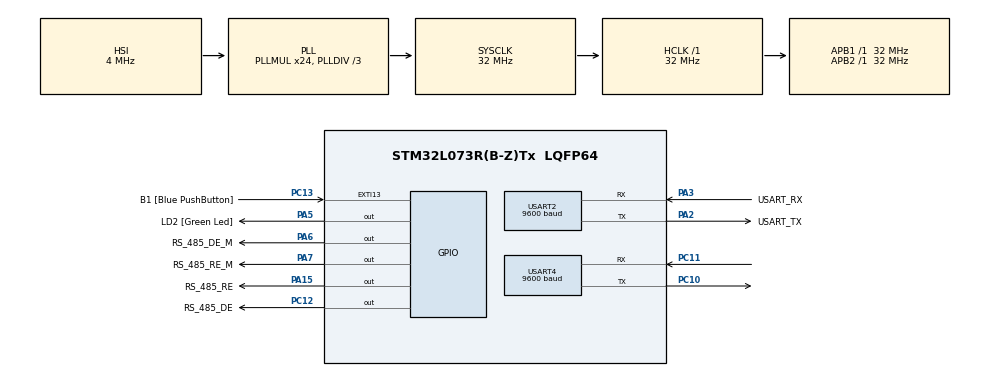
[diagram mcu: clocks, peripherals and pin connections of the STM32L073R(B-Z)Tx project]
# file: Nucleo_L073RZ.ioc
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FREERTOS.Tasks01=defaultTask,0,128,StartDefaultTask,Default,NULL,Dynamic,NULL,NULL;MasterPoll,-3,128,StartMasterPollTask,Default,NULL,Dynamic,NULL,NULL;SlavePoll,-3,128,StartSlavePollTask,Default,NULL,Dynamic,NULL,NULL;NmeaPoll,-3,128,StartNmeaPollTask,Default,NULL,Dynamic,NULL,NULL
Mcu.Family=STM32L0
Mcu.Name=STM32L073R(B-Z)Tx
Mcu.Package=LQFP64
NVIC.TIM2_IRQn=true\:0\:0\:false\:false\:true\:false\:false\:true
NVIC.TIM6_DAC_IRQn=true\:3\:0\:false\:false\:true\:true\:true\:true
NVIC.TIM7_IRQn=true\:3\:0\:false\:false\:true\:true\:true\:true
NVIC.TimeBase=TIM2_IRQn
NVIC.TimeBaseIP=TIM2
NVIC.USART2_IRQn=true\:3\:0\:false\:false\:true\:true\:true\:true
NVIC.USART4_5_IRQn=true\:3\:0\:false\:false\:true\:true\:true\:true
PA13.GPIO_Label=TMS
PA13.Mode=Serial_Wire
PA13.Signal=SYS_SWDIO
PA14.GPIO_Label=TCK
PA14.Mode=Serial_Wire
PA14.Signal=SYS_SWCLK
PA15.GPIO_Label=RS_485_RE
PA15.Signal=GPIO_Output
PA2.GPIO_Label=USART_TX
PA2.Mode=Asynchronous
PA2.Signal=USART2_TX
PA3.GPIO_Label=USART_RX
PA3.Mode=Asynchronous
PA3.Signal=USART2_RX
PA5.GPIO_Label=LD2 [Green Led]
PA5.Signal=GPIO_Output
PA6.GPIO_Label=RS_485_DE_M
PA6.Signal=GPIO_Output
PA7.GPIO_Label=RS_485_RE_M
PA7.Signal=GPIO_Output
PC10.Mode=Asynchronous
PC10.Signal=USART4_TX
PC11.Mode=Asynchronous
PC11.Signal=USART4_RX
PC12.GPIO_Label=RS_485_DE
PC12.Signal=GPIO_Output
PC13.GPIO_Label=B1 [Blue PushButton]
PC13.GPIO_ModeDefaultEXTI=GPIO_MODE_IT_FALLING
PC13.Signal=GPXTI13
PC14-OSC32_IN.Mode=LSE-External-Oscillator
PC14-OSC32_IN.Signal=RCC_OSC32_IN
PC15-OSC32_OUT.Mode=LSE-External-Oscillator
PC15-OSC32_OUT.Signal=RCC_OSC32_OUT
PH0-OSC_IN.GPIO_Label=MCO
PH0-OSC_IN.Mode=HSE-External-Clock-Source
PH0-OSC_IN.Signal=RCC_OSC_IN
ProjectManager.HeapSize=0x200
ProjectManager.StackSize=0x400
ProjectManager.TargetToolchain=STM32CubeIDE
RCC.ADCFreq_Value=4000000
RCC.AHBFreq_Value=32000000
RCC.APB1Freq_Value=32000000
RCC.APB1TimFreq_Value=32000000
RCC.APB2Freq_Value=32000000
RCC.APB2TimFreq_Value=32000000
RCC.HCLKFreq_Value=32000000
RCC.HSE_VALUE=8000000
RCC.HSI16_VALUE=16000000
RCC.HSI48_VALUE=48000000
RCC.HSIRCDiv=4
RCC.HSI_VALUE=4000000
RCC.MSI_VALUE=2097000
RCC.PLLDIV=RCC_PLLDIV_3
RCC.PLLMUL=RCC_PLLMUL_24
RCC.SYSCLKFreq_VALUE=32000000
RCC.SYSCLKSource=RCC_SYSCLKSOURCE_PLLCLK
RCC.Usart2ClockSelection=RCC_USART2CLKSOURCE_HSI
RCC.VCOOutputFreq_Value=96000000
TIM6.AutoReloadPreload=TIM_AUTORELOAD_PRELOAD_ENABLE
TIM6.Period=20
TIM6.Prescaler=31
TIM7.AutoReloadPreload=TIM_AUTORELOAD_PRELOAD_ENABLE
TIM7.Period=20
TIM7.Prescaler=31
USART2.BaudRate=9600
USART2.VirtualMode-Asynchronous=VM_ASYNC
USART4.BaudRate=9600
USART4.Parity=PARITY_NONE
USART4.VirtualMode-Asynchronous=VM_ASYNC
VP_FREERTOS_VS_CMSIS_V1.Mode=CMSIS_V1
VP_SYS_VS_tim2.Mode=TIM2
VP_TIM6_VS_ClockSourceINT.Mode=Enable_Timer
VP_TIM7_VS_ClockSourceINT.Mode=Enable_Timer
VP_WWDG_VS_WWDG.Mode=WWDG_Activate
WWDG.Counter=127
WWDG.Prescaler=WWDG_PRESCALER_8
WWDG.Window=127
board=NUCLEO-L073RZ

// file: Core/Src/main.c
/* USER CODE BEGIN Header */
/**
  ******************************************************************************
  * @file           : main.c
  * @brief          : Main program body
  ******************************************************************************
  * @attention
  *
  * <h2><center>&copy; Copyright (c) 2023 STMicroelectronics.
  * All rights reserved.</center></h2>
  *
  * This software component is licensed by ST under BSD 3-Clause license,
  * the "License"; You may not use this file except in compliance with the
  * License. You may obtain a copy of the License at:
  *                        opensource.org/licenses/BSD-3-Clause
  *
  ******************************************************************************
  */
/* USER CODE END Header */

#include "main.h"
#include "cmsis_os.h"

/* USER CODE BEGIN Includes */
#include "mb.h"
#include "mbport.h"
#include "user_mb_app.h"
/* USER CODE END Includes */

TIM_HandleTypeDef htim6;
TIM_HandleTypeDef htim7;

UART_HandleTypeDef huart2;
UART_HandleTypeDef huart4;

WWDG_HandleTypeDef hwwdg;

osThreadId defaultTaskHandle;
osThreadId MasterPollHandle;
osThreadId SlavePollHandle;
osThreadId NmeaPollHandle;

void SystemClock_Config(void);
static void MX_GPIO_Init(void);
static void MX_USART2_UART_Init(void);
static void MX_TIM7_Init(void);
static void MX_USART4_UART_Init(void);
static void MX_WWDG_Init(void);
static void MX_TIM6_Init(void);
void StartDefaultTask(void const * argument);
void StartMasterPollTask(void const * argument);
void StartSlavePollTask(void const * argument);
void StartNmeaPollTask(void const * argument);

/* USER CODE BEGIN 0 */
extern uint16_t usSRegInBuf[];
extern uint8_t ucSDiscInBuf[];
extern uint16_t usSRegHoldBuf[];
extern uint8_t ucSCoilBuf[];
extern BOOL xNeedPoll;
/* USER CODE END 0 */

int main(void)
{
  /* USER CODE BEGIN 1 */
	__enable_irq();
  /* USER CODE END 1 */

  /* MCU Configuration--------------------------------------------------------*/

  /* Reset of all peripherals, Initializes the Flash interface and the Systick. */
  HAL_Init();

  /* Configure the system clock */
  SystemClock_Config();

  /* Initialize all configured peripherals */
  MX_GPIO_Init();
  MX_USART2_UART_Init();
  MX_TIM7_Init();
  MX_USART4_UART_Init();
  MX_WWDG_Init();
  MX_TIM6_Init();
  /* USER CODE BEGIN 2 */
    eMBInit(MB_RTU, 0x01, &huart2, 9600, &htim7);
    //HAL_GPIO_WritePin(RS_485_RE_GPIO_Port, RS_485_RE_Pin, GPIO_PIN_SET);//set the RE pin HIGH to make recieve possible
	eMBEnable();

	eMBMasterInit(MB_RTU, &huart4, 9600, &htim6);
	//HAL_GPIO_WritePin(RS_485_RE_M_GPIO_Port, RS_485_RE_M_Pin, GPIO_PIN_SET);//set the RE pin HIGH to make recieve possible
	eMBMasterEnable();
	xNeedPoll = TRUE;

	usSRegInBuf[0] = 0;
	usSRegInBuf[1] = 0;
	usSRegInBuf[2] = 0;
	usSRegInBuf[3] = 0;
	usSRegInBuf[4] = 0;
	usSRegInBuf[5] = 0;
	usSRegInBuf[6] = 0;
	usSRegInBuf[7] = 0;

	ucSDiscInBuf[0] = 0b00000000;
	ucSDiscInBuf[1] = 0b00000000;
	ucSDiscInBuf[2] = 0b00000000;
	ucSDiscInBuf[3] = 0b00000000;

	ucSCoilBuf[0] = 0b00000000;
	ucSCoilBuf[1] = 0b00000000;

	usSRegHoldBuf[0] = 266;
	usSRegHoldBuf[1] = 267;
	usSRegHoldBuf[2] = 268;
	usSRegHoldBuf[3] = 269;
	usSRegHoldBuf[4] = 270;

	usSRegHoldBuf[5] = 0;
	usSRegHoldBuf[6] = 0;
	usSRegHoldBuf[7] = 0;
	usSRegHoldBuf[8] = 0;
	usSRegHoldBuf[9] = 0;
	usSRegHoldBuf[10] = 0;
	usSRegHoldBuf[11] = 0;
	usSRegHoldBuf[12] = 0;
	usSRegHoldBuf[13] = 0;
	usSRegHoldBuf[14] = 0;
	usSRegHoldBuf[15] = 0;
	usSRegHoldBuf[16] = 0;

  /* USER CODE END 2 */

  /* Create the thread(s) */
  /* definition and creation of defaultTask */
  osThreadDef(defaultTask, StartDefaultTask, osPriorityNormal, 0, 128);
  defaultTaskHandle = osThreadCreate(osThread(defaultTask), NULL);

  /* definition and creation of MasterPoll */
  osThreadDef(MasterPoll, StartMasterPollTask, osPriorityIdle, 0, 128);
  MasterPollHandle = osThreadCreate(osThread(MasterPoll), NULL);

  /* definition and creation of SlavePoll */
  osThreadDef(SlavePoll, StartSlavePollTask, osPriorityIdle, 0, 128);
  SlavePollHandle = osThreadCreate(osThread(SlavePoll), NULL);

  /* definition and creation of NmeaPoll */
  osThreadDef(NmeaPoll, StartNmeaPollTask, osPriorityIdle, 0, 128);
  NmeaPollHandle = osThreadCreate(osThread(NmeaPoll), NULL);

  /* Start scheduler */
  osKernelStart();

  /* We should never get here as control is now taken by the scheduler */
  /* Infinite loop */
  while (1)
  {

  }
}

void SystemClock_Config(void)
{
  RCC_OscInitTypeDef RCC_OscInitStruct = {0};
  RCC_ClkInitTypeDef RCC_ClkInitStruct = {0};
  RCC_PeriphCLKInitTypeDef PeriphClkInit = {0};

  /** Configure the main internal regulator output voltage
  */
  __HAL_PWR_VOLTAGESCALING_CONFIG(PWR_REGULATOR_VOLTAGE_SCALE1);
  /** Initializes the CPU, AHB and APB busses clocks
  */
  RCC_OscInitStruct.OscillatorType = RCC_OSCILLATORTYPE_HSI;
  RCC_OscInitStruct.HSIState = RCC_HSI_DIV4;
  RCC_OscInitStruct.HSICalibrationValue = RCC_HSICALIBRATION_DEFAULT;
  RCC_OscInitStruct.PLL.PLLState = RCC_PLL_ON;
  RCC_OscInitStruct.PLL.PLLSource = RCC_PLLSOURCE_HSI;
  RCC_OscInitStruct.PLL.PLLMUL = RCC_PLLMUL_24;
  RCC_OscInitStruct.PLL.PLLDIV = RCC_PLLDIV_3;
  if (HAL_RCC_OscConfig(&RCC_OscInitStruct) != HAL_OK)
  {
    Error_Handler();
  }
  /** Initializes the CPU, AHB and APB busses clocks
  */
  RCC_ClkInitStruct.ClockType = RCC_CLOCKTYPE_HCLK|RCC_CLOCKTYPE_SYSCLK
                              |RCC_CLOCKTYPE_PCLK1|RCC_CLOCKTYPE_PCLK2;
  RCC_ClkInitStruct.SYSCLKSource = RCC_SYSCLKSOURCE_PLLCLK;
  RCC_ClkInitStruct.AHBCLKDivider = RCC_SYSCLK_DIV1;
  RCC_ClkInitStruct.APB1CLKDivider = RCC_HCLK_DIV1;
  RCC_ClkInitStruct.APB2CLKDivider = RCC_HCLK_DIV1;

  if (HAL_RCC_ClockConfig(&RCC_ClkInitStruct, FLASH_LATENCY_1) != HAL_OK)
  {
    Error_Handler();
  }
  PeriphClkInit.PeriphClockSelection = RCC_PERIPHCLK_USART2;
  PeriphClkInit.Usart2ClockSelection = RCC_USART2CLKSOURCE_HSI;
  if (HAL_RCCEx_PeriphCLKConfig(&PeriphClkInit) != HAL_OK)
  {
    Error_Handler();
  }
}

static void MX_TIM6_Init(void)
{

  TIM_MasterConfigTypeDef sMasterConfig = {0};

  htim6.Instance = TIM6;
  htim6.Init.Prescaler = 31;
  htim6.Init.CounterMode = TIM_COUNTERMODE_UP;
  htim6.Init.Period = 20;
  htim6.Init.AutoReloadPreload = TIM_AUTORELOAD_PRELOAD_ENABLE;
  if (HAL_TIM_Base_Init(&htim6) != HAL_OK)
  {
    Error_Handler();
  }
  sMasterConfig.MasterOutputTrigger = TIM_TRGO_RESET;
  sMasterConfig.MasterSlaveMode = TIM_MASTERSLAVEMODE_DISABLE;
  if (HAL_TIMEx_MasterConfigSynchronization(&htim6, &sMasterConfig) != HAL_OK)
  {
    Error_Handler();
  }

}

static void MX_TIM7_Init(void)
{

  TIM_MasterConfigTypeDef sMasterConfig = {0};

  htim7.Instance = TIM7;
  htim7.Init.Prescaler = 31;
  htim7.Init.CounterMode = TIM_COUNTERMODE_UP;
  htim7.Init.Period = 20;
  htim7.Init.AutoReloadPreload = TIM_AUTORELOAD_PRELOAD_ENABLE;
  if (HAL_TIM_Base_Init(&htim7) != HAL_OK)
  {
    Error_Handler();
  }
  sMasterConfig.MasterOutputTrigger = TIM_TRGO_RESET;
  sMasterConfig.MasterSlaveMode = TIM_MASTERSLAVEMODE_DISABLE;
  if (HAL_TIMEx_MasterConfigSynchronization(&htim7, &sMasterConfig) != HAL_OK)
  {
    Error_Handler();
  }

}

static void MX_USART2_UART_Init(void)
{

  huart2.Instance = USART2;
  huart2.Init.BaudRate = 9600;
  huart2.Init.WordLength = UART_WORDLENGTH_8B;
  huart2.Init.StopBits = UART_STOPBITS_1;
  huart2.Init.Parity = UART_PARITY_NONE;
  huart2.Init.Mode = UART_MODE_TX_RX;
  huart2.Init.HwFlowCtl = UART_HWCONTROL_NONE;
  huart2.Init.OverSampling = UART_OVERSAMPLING_16;
  huart2.Init.OneBitSampling = UART_ONE_BIT_SAMPLE_DISABLE;
  huart2.AdvancedInit.AdvFeatureInit = UART_ADVFEATURE_NO_INIT;
  if (HAL_UART_Init(&huart2) != HAL_OK)
  {
    Error_Handler();
  }

}

static void MX_USART4_UART_Init(void)
{

  huart4.Instance = USART4;
  huart4.Init.BaudRate = 9600;
  huart4.Init.WordLength = UART_WORDLENGTH_8B;
  huart4.Init.StopBits = UART_STOPBITS_1;
  huart4.Init.Parity = UART_PARITY_NONE;
  huart4.Init.Mode = UART_MODE_TX_RX;
  huart4.Init.HwFlowCtl = UART_HWCONTROL_NONE;
  huart4.Init.OverSampling = UART_OVERSAMPLING_16;
  huart4.Init.OneBitSampling = UART_ONE_BIT_SAMPLE_DISABLE;
  huart4.AdvancedInit.AdvFeatureInit = UART_ADVFEATURE_NO_INIT;
  if (HAL_UART_Init(&huart4) != HAL_OK)
  {
    Error_Handler();
  }

}

static void MX_WWDG_Init(void)
{

  hwwdg.Instance = WWDG;
  hwwdg.Init.Prescaler = WWDG_PRESCALER_8;
  hwwdg.Init.Window = 127;
  hwwdg.Init.Counter = 127;
  hwwdg.Init.EWIMode = WWDG_EWI_DISABLE;
  if (HAL_WWDG_Init(&hwwdg) != HAL_OK)
  {
    Error_Handler();
  }

}

static void MX_GPIO_Init(void)
{
  GPIO_InitTypeDef GPIO_InitStruct = {0};

  /* GPIO Ports Clock Enable */
  __HAL_RCC_GPIOC_CLK_ENABLE();
  __HAL_RCC_GPIOH_CLK_ENABLE();
  __HAL_RCC_GPIOA_CLK_ENABLE();

  /*Configure GPIO pin Output Level */
  HAL_GPIO_WritePin(GPIOA, LD2_Pin|RS_485_DE_M_Pin|RS_485_RE_M_Pin|RS_485_RE_Pin, GPIO_PIN_RESET);

  /*Configure GPIO pin Output Level */
  HAL_GPIO_WritePin(RS_485_DE_GPIO_Port, RS_485_DE_Pin, GPIO_PIN_RESET);

  /*Configure GPIO pin : B1_Pin */
  GPIO_InitStruct.Pin = B1_Pin;
  GPIO_InitStruct.Mode = GPIO_MODE_IT_FALLING;
  GPIO_InitStruct.Pull = GPIO_NOPULL;
  HAL_GPIO_Init(B1_GPIO_Port, &GPIO_InitStruct);

  /*Configure GPIO pins : LD2_Pin RS_485_DE_M_Pin RS_485_RE_M_Pin RS_485_RE_Pin */
  GPIO_InitStruct.Pin = LD2_Pin|RS_485_DE_M_Pin|RS_485_RE_M_Pin|RS_485_RE_Pin;
  GPIO_InitStruct.Mode = GPIO_MODE_OUTPUT_PP;
  GPIO_InitStruct.Pull = GPIO_NOPULL;
  GPIO_InitStruct.Speed = GPIO_SPEED_FREQ_LOW;
  HAL_GPIO_Init(GPIOA, &GPIO_InitStruct);

  /*Configure GPIO pin : RS_485_DE_Pin */
  GPIO_InitStruct.Pin = RS_485_DE_Pin;
  GPIO_InitStruct.Mode = GPIO_MODE_OUTPUT_PP;
  GPIO_InitStruct.Pull = GPIO_NOPULL;
  GPIO_InitStruct.Speed = GPIO_SPEED_FREQ_LOW;
  HAL_GPIO_Init(RS_485_DE_GPIO_Port, &GPIO_InitStruct);

}

void StartDefaultTask(void const * argument)
{
  /* USER CODE BEGIN 5 */
  /* Infinite loop */
	for (;;)
	{

		HAL_GPIO_WritePin(LD2_GPIO_Port, LD2_Pin, 1);///////////
		osDelay(3000);///////////
		HAL_GPIO_WritePin(LD2_GPIO_Port, LD2_Pin, 0);/////////
		osDelay(3000);//////////
		//HAL_UART_Transmit(&huart2, "HERE", 4, HAL_MAX_DELAY);///////

	}
  /* USER CODE END 5 */
}

void StartMasterPollTask(void const * argument)
{
  /* USER CODE BEGIN StartMasterPollTask */
  /* Infinite loop */
  for(;;)
  {
	  eMBMasterPoll();
	  osDelay(100);
	  if (xNeedPoll)
	  {
		  //HAL_UART_Transmit_IT(&huart2, "HERE", 4);///////
		  eMBMasterReqReadInputRegister(0x01, 0, 2, 2);
		  xNeedPoll = FALSE;
	  }
  }
  /* USER CODE END StartMasterPollTask */
}

void StartSlavePollTask(void const * argument)
{
  /* USER CODE BEGIN StartSlavePollTask */
  /* Infinite loop */
  for(;;)
  {
	  osDelay(10);
	  //taskENTER_CRITICAL();
	  eMBPoll();               //analyses what't have been recieved during recieve interrupt and processes  commands or responses requests
	  //taskEXIT_CRITICAL();
	  HAL_WWDG_Refresh(&hwwdg);
  }
  /* USER CODE END StartSlavePollTask */
}

void StartNmeaPollTask(void const * argument)
{
  /* USER CODE BEGIN StartNmeaPollTask */
  /* Infinite loop */
  for(;;)
  {
    osDelay(1);
	HAL_WWDG_Refresh(&hwwdg);
  }
  /* USER CODE END StartNmeaPollTask */
}

 /**
  * @brief  Period elapsed callback in non blocking mode
  * @note   This function is called  when TIM2 interrupt took place, inside
  * HAL_TIM_IRQHandler(). It makes a direct call to HAL_IncTick() to increment
  * a global variable "uwTick" used as application time base.
  * @param  htim : TIM handle
  * @retval None
  */

void Error_Handler(void)
{
}

/************************ (C) COPYRIGHT STMicroelectronics *****END OF FILE****/

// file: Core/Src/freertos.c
/* USER CODE BEGIN Header */
/**
  ******************************************************************************
  * File Name          : freertos.c
  * Description        : Code for freertos applications
  ******************************************************************************
  * @attention
  *
  * <h2><center>&copy; Copyright (c) 2023 STMicroelectronics.
  * All rights reserved.</center></h2>
  *
  * This software component is licensed by ST under Ultimate Liberty license
  * SLA0044, the "License"; You may not use this file except in compliance with
  * the License. You may obtain a copy of the License at:
  *                             www.st.com/SLA0044
  *
  ******************************************************************************
  */
/* USER CODE END Header */

#include "FreeRTOS.h"
#include "task.h"
#include "main.h"

/* GetIdleTaskMemory prototype (linked to static allocation support) */
void vApplicationGetIdleTaskMemory( StaticTask_t **ppxIdleTaskTCBBuffer, StackType_t **ppxIdleTaskStackBuffer, uint32_t *pulIdleTaskStackSize );

/* USER CODE BEGIN GET_IDLE_TASK_MEMORY */
static StaticTask_t xIdleTaskTCBBuffer;
static StackType_t xIdleStack[configMINIMAL_STACK_SIZE];

void vApplicationGetIdleTaskMemory( StaticTask_t **ppxIdleTaskTCBBuffer, StackType_t **ppxIdleTaskStackBuffer, uint32_t *pulIdleTaskStackSize )
{
  *ppxIdleTaskTCBBuffer = &xIdleTaskTCBBuffer;
  *ppxIdleTaskStackBuffer = &xIdleStack[0];
  *pulIdleTaskStackSize = configMINIMAL_STACK_SIZE;
  /* place for user code */
}
/* USER CODE END GET_IDLE_TASK_MEMORY */

/************************ (C) COPYRIGHT STMicroelectronics *****END OF FILE****/
